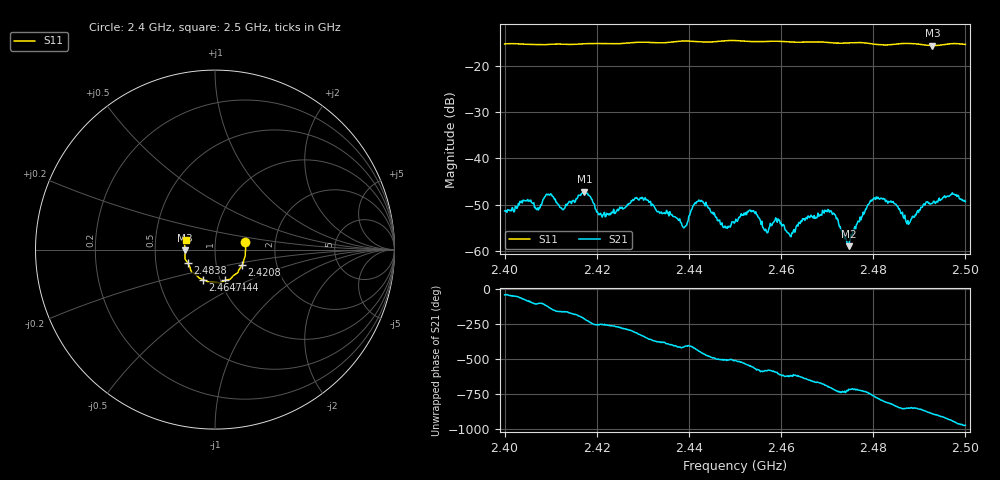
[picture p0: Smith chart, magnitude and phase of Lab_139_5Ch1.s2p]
# Hz S RI R 50
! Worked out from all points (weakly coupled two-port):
!   601 points, 2.4 GHz to 2.5 GHz, reference 50 ohm
!   highest |S21| = -47.18 dB at 2.4173 GHz (marker M1); lowest = -58.9 dB at 2.4747 GHz (marker M2)
!   lowest |S11| = -15.6 dB at 2.4928 GHz (marker M3), VSWR 1.40, Z = 35.8 - j0.351 ohm
!   |S11| at or under -10 dB: start of sweep to end of sweep
!   S12 and S22 are empty: the file has one direction only
!   S11 on the Smith chart (normalised r, x): 2.4 GHz: 1.40, +0.12; 2.4208 GHz: 1.33, -0.24; 2.444 GHz: 1.06, -0.37; 2.4647 GHz: 0.83, -0.29; 2.4838 GHz: 0.73, -0.11; 2.5 GHz: 0.72, +0.08
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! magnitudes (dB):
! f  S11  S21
! 2.4 GHz  -15.3  -51.3
! 2.4167 GHz  -15.2  -47.6
! 2.4173 GHz  -15.2  -47.2
! 2.4208 GHz  -15.2  -51.8
! 2.4283 GHz  -14.9  -48.5
! 2.4333 GHz  -15.0  -51.4
! 2.439 GHz  -14.6  -54.9
! 2.4417 GHz  -14.8  -49.3
! 2.444 GHz  -14.9  -50.2
! 2.45 GHz  -14.5  -53.8
! 2.4535 GHz  -14.7  -51.5
! 2.462 GHz  -14.8  -56.8
! 2.4647 GHz  -14.9  -53.0
! 2.4667 GHz  -14.8  -52.6
! 2.4712 GHz  -15.0  -52.1
! 2.4747 GHz  -15.0  -58.9
! 2.4797 GHz  -15.2  -49.2
! 2.4833 GHz  -15.5  -49.3
! 2.4838 GHz  -15.4  -49.2
! 2.4875 GHz  -15.2  -53.4
! 2.4928 GHz  -15.6  -49.7
! 2.5 GHz  -15.4  -49.3
